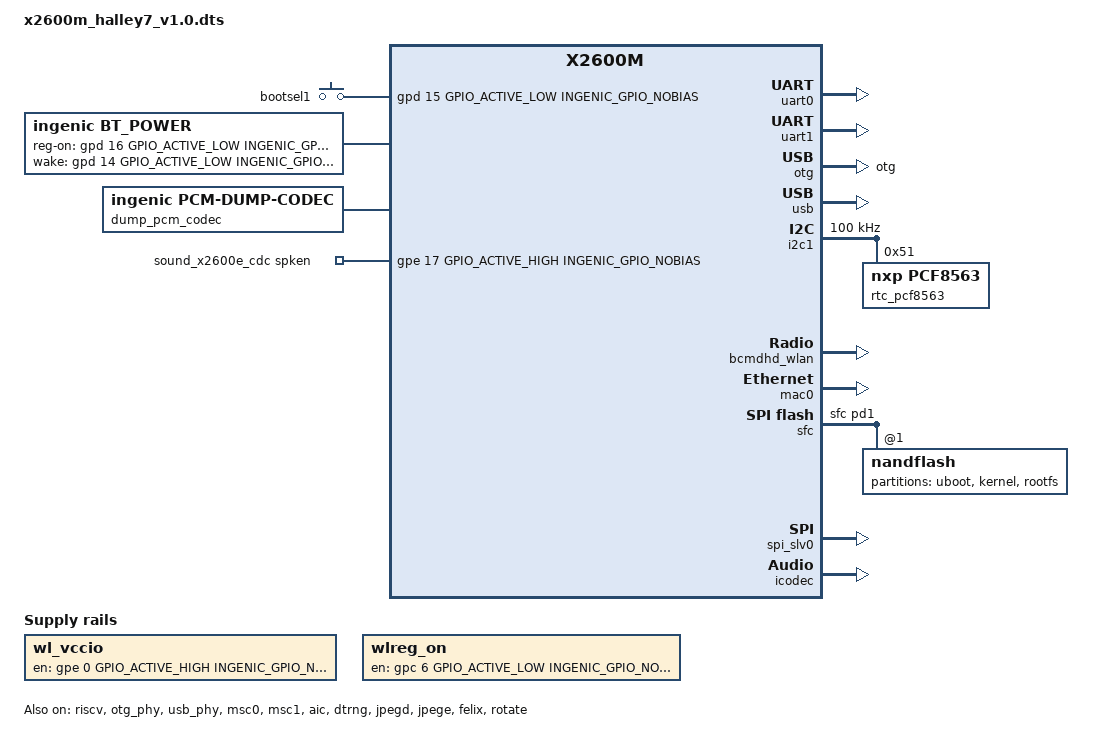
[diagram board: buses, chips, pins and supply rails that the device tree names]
/dts-v1/;

#include <dt-bindings/input/input.h>
#include "x2600.dtsi"
#include <dt-bindings/interrupt-controller/irq.h>
#include <generated/autoconf.h>

/ {
	compatible = "ingenic,x2600m-halley7-board-v1.0", "ingenic,x2600m";
	chosen {
		bootargs = "console=ttyS0,115200 mem=64M@0x0ip=off init=/linuxrc ubi.mtd=2 root=ubi0:rootfs ubi.mtd=3 rootfstype=ubifs rw flashtype=nand";
		/*bootargs = "console=ttyS0,115200 mem=128M@0x0ip=off init=/linuxrc rootfstype=jffs2 root=/dev/mtdblock2 rw flashtype=nor";*/
	};

	wl_vccio: wl-regulator {
		  compatible = "regulator-fixed";
		  regulator-name = "wl_vccio";
		  gpio = <&gpe 0 GPIO_ACTIVE_HIGH INGENIC_GPIO_NOBIAS>;
		  enable-active-high;
	};

	wlreg_on: wlreg-on {
		  compatible = "regulator-fixed";
		  regulator-name = "wlreg_on";
		  gpio = <&gpc 6 GPIO_ACTIVE_LOW INGENIC_GPIO_NOBIAS>;
		  enable-active-low;
	};
	reserved-memory {
		#address-cells = <1>;
		#size-cells = <1>;
		ranges =<>;

		reserved_memory: reserved_mem@0x2D00000{
		      compatible = "shared-dma-pool";
		      reg = <0x02D00000 0x1200000>;
		};

		vdev0vring0: vdev0vring0@0x12400000{
		    compatible = "shared-dma-pool";
			reg = <0x12400000 0x1000>;
			no-map;
		};

		vdev0vring1: vdev0vring1@0x12401000{
		    compatible = "shared-dma-pool";
			reg = <0x12401000 0x1000>;
			no-map;
		};

		vdev0buffer: vdev0buffer@0x03F80000{
			 compatible = "shared-dma-pool";
			 reg = <0x03F80000 0x8000>;
		 };

		riscv_mcu_ram: riscv_mcu_ram@0x03F88000{
			 compatible = "shared-dma-pool";
			 reg = <0x03F88000 0x78000>;	//480K

		 };
	};
};

&riscv {
	status = "okay";
	memory-region=<&vdev0buffer &vdev0vring0 &vdev0vring1>;
	load-addr=<0x03F88000>;
};

&uart0 {
	status = "okay";
	pinctrl-names = "default";
	pinctrl-0 = <&uart0_pe>;
};

&uart1 {
	status = "okay";
	pinctrl-names = "default";
	pinctrl-0 = <&uart1_pb>;
};

&otg {
	dr_mode = "otg"; // host,peripheral,otg
	device-using-dma = <1>;
	status = "okay";
};

&usb {
	device-using-dma = <1>;
	status = "okay";
};

&otg_phy {
	status = "okay";
	ingenic,drvvbus-gpio = <&gpe 18 GPIO_ACTIVE_HIGH INGENIC_GPIO_NOBIAS>;
};

&usb_phy {
	status = "okay";
};

&i2c1 {
    clock-frequency = <100000>;
    pinctrl-0 = <&i2c1_pc>;
    timeout = <1000>;
    pinctrl-names = "default";
    status = "okay";

    rtc_pcf8563:rtc_pcf8563@0x51{
                compatible = "nxp,pcf8563";
                reg = <0x51>;
                status = "okay";
    };
};

&msc0 {
	status = "okay";
	pinctrl-names ="default";
	pinctrl-0 = <&msc0_8bit_low>,<&msc0_8bit_high>;
	mmc-hs200-1_8v;
	non-removable;
	max-frequency = <100000000>;
	bus-width = <8>;
	voltage-ranges = <1800 3300>;

	ingenic,rst-gpios = <0>;

};

&msc1 {
	status = "okay";
	/*mmc-hs200-1_8v;*/
	pinctrl-names ="default";
	pinctrl-0 = <&msc1_4bit1>;

	cap-mmc-highspeed;
	max-frequency = <50000000>;
	bus-width = <4>;
	non-removable;
	voltage-ranges = <1800 3300>;

	ingenic,sdio_clk = <1>;
	keep-power-in-suspend;

	/* special property */
	wp-gpios = <0>;
	ingenic,rst-gpios = <0>;
	ingenic,removal-manual; /*removal-dontcare, removal-nonremovable, removal-removable, removal-manual*/

#ifndef CONFIG_RTL8723DS
	bcmdhd_wlan: bcmdhd_wlan {
		 compatible = "android,bcmdhd_wlan";
		 wl_vccio-supply = <&wl_vccio>;
		 ingenic,sdio-irq = <&gpd 12 IRQ_TYPE_LEVEL_HIGH INGENIC_GPIO_NOBIAS>;
		 ingenic,sdio-reset = <&gpd 13 GPIO_ACTIVE_LOW INGENIC_GPIO_NOBIAS>;
    };
#else
    rtl8723ds: rtl8723ds {
        compatible = "rtk,rtl8723ds_wlan";
        /*wl_vccio-supply = <&wl_vccio>;*/
		 ingenic,sdio-irq = <&gpd 12 IRQ_TYPE_LEVEL_HIGH INGENIC_GPIO_NOBIAS>;
		 ingenic,sdio-reset = <&gpd 13 GPIO_ACTIVE_LOW INGENIC_GPIO_NOBIAS>;
    };
#endif
};

&mac0 {
	pinctrl-names = "default", "reset";
	pinctrl-0 = <&mac0_rmii_p0_normal>, <&mac0_rmii_p1_normal>,<&mac0_phy_clk>;
	pinctrl-1 = <&mac0_rmii_p0_rst>, <&mac0_rmii_p1_normal>, <&mac0_phy_clk>;
	status = "okay";
	ingenic,rst-gpio = <&gpc 13 GPIO_ACTIVE_LOW INGENIC_GPIO_NOBIAS>;
	ingenic,rst-ms = <10>;
	ingenic,mac-mode = <RMII>;
	ingenic,mode-reg = <0xb00000e4>;
	ingenic,phy-clk-freq = <50000000>;
};


&sfc {
	status = "okay";
	pinctrl-names = "default";
	pinctrl-0 = <&sfc_pd1>;
	ingenic,sfc-max-frequency = <200000000>;
	ingenic,sfc-init-frequency= <40000000>;
	ingenic,use_ofpart_info  = /bits/ 8 <0>;
	ingenic,spiflash_param_offset = <0>;

	nandflash@1 {
		partitions {
		compatible = "fixed-partitions";
		#address-cells = <1>;
		#size-cells = <1>;
		/* spi nand flash partition */
		partition@0 {
			label = "uboot";
			reg = <0x0000000 0x100000>;
		/*read-only;*/
		};
		partition@100000 {
			label = "kernel";
			reg = <0x100000 0x800000>;
		};
		partition@900000 {
			label = "rootfs";
			reg = <0x900000 0xf700000>;
		};
		};
	};

};

&aic {
	status = "okay";
};

&dmic {
	status = "disable";
	pinctrl-names = "default";
	pinctrl-0 = <&dmic_pc_4ch>;
};

&spi0 {
	status = "disabled";
	pinctrl-names = "default";
	pinctrl-0 = <&spi0_pb>;
	spi-max-frequency = <54000000>;
	num-cs = <2>;
	/* cs-gpios = <0>, <0>; */
	/* cs-gpios = <&gpb 17 GPIO_ACTIVE_HIGH INGENIC_GPIO_NOBIAS>, <&gpb 16 GPIO_ACTIVE_HIGH INGENIC_GPIO_NOBIAS>; */
	ingenic,chnl = <0>;
	ingenic,allow_cs_same = <1>;
	ingenic,bus_num = <0>;
	ingenic,has_dma_support = <0>;
	ingenic,spi-src-clk = <1>;/*0.ext; 1.ssi*/

	/* Add SPI interface device */
	spidev: spidev@0 {
		compatible = "rohm,dh2228fv";
		reg = <0>;
		spi-max-frequency = <10000000>;
	};
};

&spi_slv0 {
	status = "okay";
	pinctrl-names = "default";
	pinctrl-0 = <&spi_slv_pb>;
	ingenic,has_dma_support = <0>;
};

&can0 {
	status = "disable";
	pinctrl-names = "default";
	pinctrl-0 = <&can0_pin>;
	ingenic,clk-freq = <24000000>;
};

&can1 {
	status = "disable";
	pinctrl-names = "default";
	pinctrl-0 = <&can1_pin>;
	ingenic,clk-freq = <24000000>;
};

&efuse {
	status = "disabled";
};

&dtrng {
	status = "okay";
};

&tcu0 {
	status = "disable";
};

&tcu1 {
	status = "disable";
};

// pcm的复用引脚为pc00 - pc03，在使用时注意引脚复用不要冲突，尤其是i2c0_pc和i2c1_pc
&pcm {
	status = "disable";
	ingenic,pcm-master-mode = <1>;
	/**
     * 0 - B-Mode : MSB（最高有效位）配置为与PCM_SYNC（帧同步信号）同时发生。
	 * 1 - A-Mode : MSB（最高有效位）配置为在PCM_SYNC（帧同步信号）之后的一个移位时钟位置。
	 */
	ingenic,pcm-msb-pos = <1>;
	/**
	 * `PCM_SYNC的长度 = (ingenic,pcm-sync-length + 1) * PCM_CLK的周期`
	 * 当`ingenic,pcm-sync-length`为0时为短帧模式，在[1, 63]范围内为长帧模式
	 *
	 * 例子，在A-Mode且`ingenic,pcm-sync-length`为0时：
	 *
	 *            ----  ----  ----  ----
	 *            |  |  |  |  |  |  |  |
	 *            |  |  |  |  |  |  |  |
	 * PCM_CLK  ---  ----  ----  ----  ---
	 *            +     +
	 *            +     +
	 *            -------
	 *            |     |
	 *            |     |
	 * PCM_SYNC ---     ---
     *                  +
	 *                  -------
	 * PCM_DO/DI        | MSB |
	 *                  -------
	 */
	ingenic,pcm-sync-length = <0>;
	pinctrl-names = "default";
	pinctrl-0 = <&pcm_pc>;
};

/ {

	extclk: extclk {
		clock-frequency = <24000000>;
	};

	gpio_keys: gpio_keys {
		   compatible = "gpio-keys";

		   bootsel1 {
			   label = "bootsel1";
			   linux,code = <KEY_BACK>;
			   gpios = <&gpd 15 GPIO_ACTIVE_LOW INGENIC_GPIO_NOBIAS>;
			   gpio-key,wakeup;
		   };
	};

	/*
	 * gpd 14 bt wakeup host
	 * gpd 13 host wakeup bt
	 */
	bt_power {
		compatible = "ingenic,bt_power";
		ingenic,reg-on-gpio = <&gpd 16 GPIO_ACTIVE_LOW INGENIC_GPIO_NOBIAS>;
		ingenic,wake-gpio = <&gpd 14 GPIO_ACTIVE_LOW INGENIC_GPIO_NOBIAS>;
		status = "okay";
	};

	watchdog {
		compatible = "sgm820-wdt";
		ingenic,sgm820-wdi = <&gpc 12 GPIO_ACTIVE_LOW INGENIC_GPIO_NOBIAS>;
		status = "okay";
	};

	dump_pcm_codec:dump_pcm_codec{
		compatible = "ingenic,pcm-dump-codec";
		status = "okay";
	};

	sound_x2600e_cdc {
		status = "okay";
		compatible = "ingenic,x2660-halley-sound";
		ingenic,model = "x2660";
		ingenic,dai-link = "pcm", "i2s-icodec", "dmic", "i2s-tloop";
		ingenic,stream = "pcm", "i2s-icodec", "dmic", "i2s-tloop";
		ingenic,cpu-dai = <&pcm>, <&i2s>, <&dmic>, <&i2s_tloop>;
		ingenic,platform = <&pcm>, <&aic>, <&dmic>, <&i2s_tloop>;
		ingenic,codec =  <&dump_pcm_codec>, <&icodec>, <&dmic>, <&dump_pcm_codec>;
		ingenic,codec-dai = "pcm-dump", "icodec", "dmic-dump-codec", "pcm-dump";
		ingenic,audio-routing = "Speaker", "HPOUTL", "DACL", "MICBIAS" ,
			"ADCL",  "MICL",
			"ADCR",  "MICR";
		ingenic,spken-gpio = <&gpe 17 GPIO_ACTIVE_HIGH INGENIC_GPIO_NOBIAS>;
	};

	spi_gpio {
		status = "disabled";
		compatible = "spi-gpio";
		#address-cells = <1>;
		#size-cells = <0>;
		/*ranges;*/
		gpio-sck = <&gpe 12 GPIO_ACTIVE_LOW INGENIC_GPIO_NOBIAS>;
		gpio-miso = <&gpe 13 GPIO_ACTIVE_LOW INGENIC_GPIO_NOBIAS>;
		gpio-mosi = <&gpe 14 GPIO_ACTIVE_LOW INGENIC_GPIO_NOBIAS>;
		cs-gpios = <&gpe 15 GPIO_ACTIVE_LOW INGENIC_GPIO_NOBIAS>;
		num-chipselects = <1>;
		/* clients */
		spidev1: spidev1@0 {
			compatible = "rohm,dh2228fv";
			reg = <0>;
			spi-max-frequency = <500000>;
		};
	};
};


&icodec {
	status = "okay";
	/**
	 * level1 : 1.6 * AVDD / 2
	 * level2 : 1.65 * AVDD / 2
	 * level3 : 1.7 * AVDD / 2
	 * level4 : 1.75 * AVDD / 2
	 * level5 : 1.8 * AVDD / 2
	 * level6 : 1.85 * AVDD / 2
	 * level7 : 1.9 * AVDD / 2
	 * level8 : 1.95 * AVDD / 2
	 */
	ingenic,micbias_level = <2>;
    dac2adc_enable = <0>;
};

&jpegd {
	status = "okay";
	memory-region=<&reserved_memory>;
};

&jpege {
	status = "okay";
	memory-region=<&reserved_memory>;
};

&felix {
	status = "okay";
	memory-region=<&reserved_memory>;
};

&rotate {
	status = "okay";
};

&pdma {
	status = "okay";
};

&pdma1 {
	status = "okay";
};

&sadc {
	status = "disable";
	pinctrl-names = "default";
	pinctrl-0 = <&aux_all_pe>;
	seq1 = <0 1 2 3 4 5 6 7 8 9 10 11 12 13 14 15>;
	/* seq1的连续转换间隔时间 单位 ms*/
	seq1-cont-interval = <10>;
	ingenic,has_dma_support = <0>;

};


&pinctrl {
	ingenic,gpa_voltage = <GPIO_VOLTAGE_3V3>;
	ingenic,gpe_msc_voltage = <GPIO_VOLTAGE_1V8>;
};


#ifdef CONFIG_STAGE_FW050
#include "x2600e_halley_lcd/X2600E_HALLEY_MIPI_LCD_FW050.dtsi"
#endif
#ifdef CONFIG_STAGE_KD055FHFID018B
#include "x2600e_halley_lcd/X2600E_HALLEY_MIPI_LCD_KD055FHFID018B.dtsi"
#endif
#ifdef CONFIG_STAGE_HC050IG40031
#include "x2600e_halley_lcd/X2600E_HALLEY_RGB_LCD_HC050IG.dtsi"
#endif

#ifdef CONFIG_STAGE_ZC50289HSHD02
#include "x2600e_halley_lcd/X2600E_HALLEY_MIPI_LCD_ZC50289HSHD02.dtsi"
#endif

#ifdef CONFIG_STAGE_M140IMN476_N010
#include "x2600e_halley_lcd/X2600E_HALLEY_MIPI_LCD_LT8911.dtsi"
#endif
